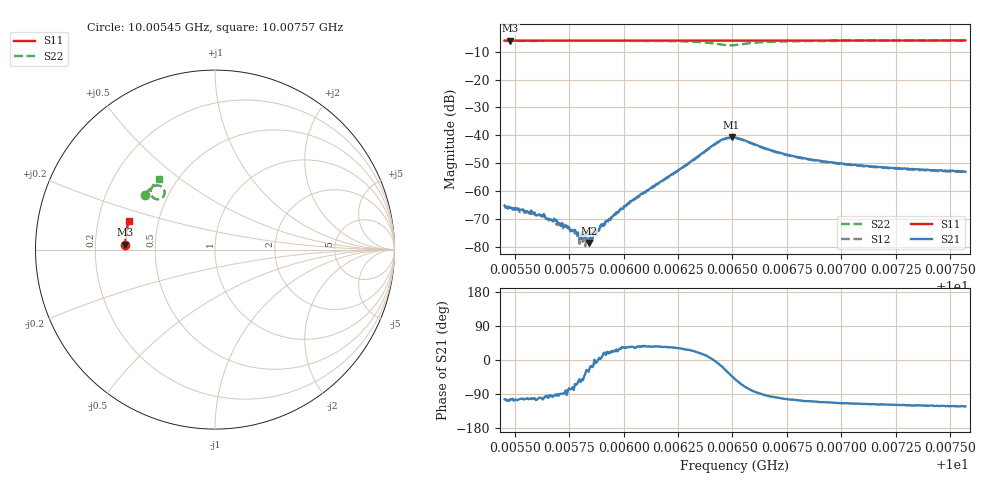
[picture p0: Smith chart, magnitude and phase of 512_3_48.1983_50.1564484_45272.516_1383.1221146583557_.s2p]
#  HZ  S  RI  R  50.00
! Rohde & Schwarz Vector Network Analyzer
! Rohde-Schwarz,ZNB20-2Port,1311601062101988,3.16
! Created: UTC 3/20/2024, 11:59:01 AM
! freq[Hz]  re:S11  im:S11  re:S21  im:S21  re:S12  im:S12  re:S22  im:S22
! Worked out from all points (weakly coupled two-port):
!   401 points, 10.00545 GHz to 10.00757 GHz, reference 50 ohm
!   highest |S21| = -40.75 dB at 10.0065 GHz (marker M1); lowest = -78.7 dB at 10.00584 GHz (marker M2)
!   lowest |S11| = -6.0 dB at 10.00548 GHz (marker M3), VSWR 3.01, Z = 16.6 + j1.24 ohm
!   |S11| at or under -10 dB: nowhere
!   |S22| runs from -7.7 to -6.0 dB; largest |S21 - S12| = 0.00057
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1.0005452e10  -0.5004 0.0262  -0.000132 -0.000532  -0.000147 -0.000511  -0.3927 0.3036
1.0005479e10  -0.5002 0.0278  -0.000113 -0.000495  -0.000123 -0.000484  -0.3914 0.3051
1.0005638e10  -0.4999 0.0383  -3.73e-05 -0.000353  -3.35e-05 -0.000338  -0.3845 0.3147
1.0005685e10  -0.4998 0.0414  -6.35e-06 -0.000288  -1.91e-05 -0.000294  -0.3821 0.3176
1.000577e10  -0.4995 0.0468  3.64e-05 -0.000192  8.08e-05 -0.000181  -0.3779 0.3227
1.0005791e10  -0.4995 0.0481  0.000101 -0.000147  0.000106 -0.000142  -0.3771 0.3239
1.0005807e10  -0.4993 0.0493  0.000115 -0.000143  0.000126 -8.97e-05  -0.376 0.325
1.0005818e10  -0.4994 0.05  0.000115 -0.000109  0.000122 -9.38e-05  -0.3754 0.3257
1.0005828e10  -0.4994 0.0504  0.00013 -6.44e-05  0.000112 -8.56e-05  -0.3749 0.3263
1.0005839e10  -0.4993 0.0513  9.99e-05 -5.95e-05  0.000137 -7.18e-05  -0.3742 0.3271
1.0005844e10  -0.4991 0.0517  0.000143 -4.99e-05  0.000165 -6.23e-05  -0.374 0.3274
1.0005881e10  -0.499 0.0541  0.0002 -1.44e-06  0.000202 2.06e-06  -0.3719 0.3297
1.0005892e10  -0.499 0.0547  0.000238 9.94e-06  0.000194 5.7e-05  -0.3712 0.3305
1.0005977e10  -0.4985 0.0602  0.000382 0.000199  0.000369 0.000194  -0.3658 0.3361
1.0006162e10  -0.497 0.0722  0.00114 0.000805  0.00107 0.000878  -0.3496 0.349
1.0006432e10  -0.494 0.0895  0.00748 -0.00105  0.00734 -0.000618  -0.2826 0.3305
1.0006496e10  -0.4936 0.0931  0.00682 -0.00614  0.00701 -0.00565  -0.2971 0.2866
1.0006512e10  -0.4935 0.0939  0.00577 -0.00704  0.00605 -0.00656  -0.3082 0.2814
1.0006697e10  -0.4922 0.1058  -0.000759 -0.00505  -0.000485 -0.00498  -0.3581 0.3233
1.0006867e10  -0.4901 0.1167  -0.00119 -0.00344  -0.00102 -0.00341  -0.3511 0.3472
1.0007221e10  -0.4852 0.1393  -0.00122 -0.00231  -0.00111 -0.00231  -0.332 0.3735
1.0007571e10  -0.479 0.1609  -0.00118 -0.00187  -0.0011 -0.00194  -0.3136 0.3919
